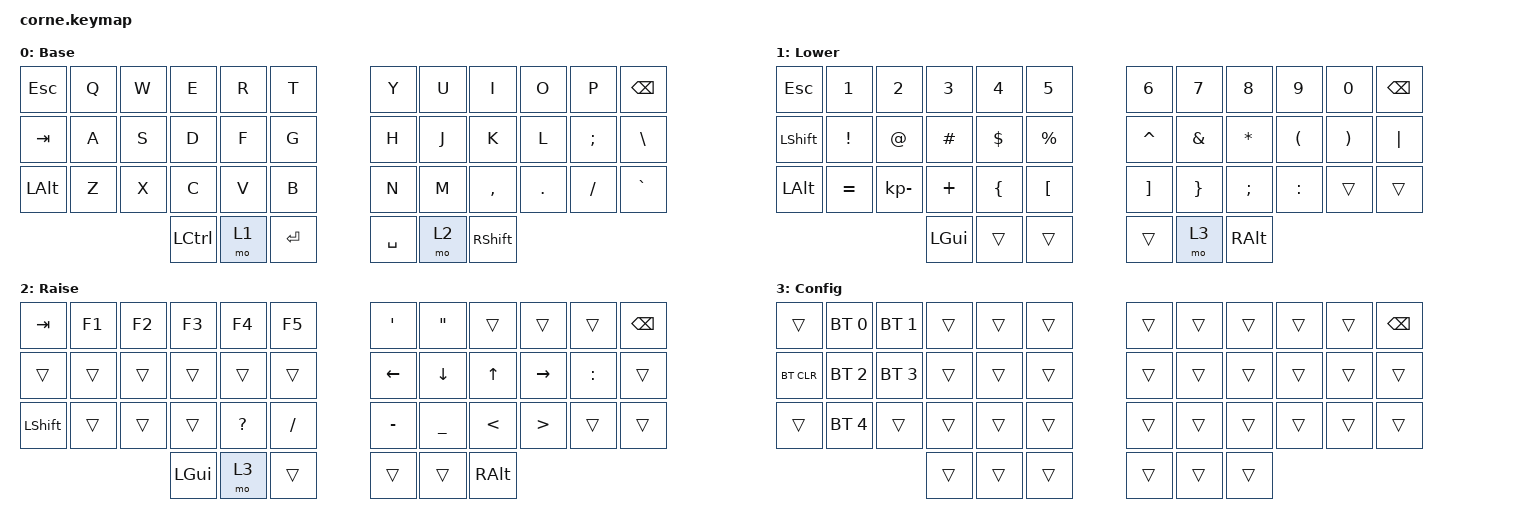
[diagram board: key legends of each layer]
/*
 * Copyright (c) 2020 The ZMK Contributors
 *
 * SPDX-License-Identifier: MIT
 */

#include <behaviors.dtsi>
#include <dt-bindings/zmk/bt.h>
#include <dt-bindings/zmk/keys.h>

/ {
    keymap {
        compatible = "zmk,keymap";

        default_layer {
            // -----------------------------------------------------------------------------------------
            // |  TAB |  Q  |  W  |  E  |  R  |  T  |   |  Y  |  U   |  I  |  O  |  P  | BKSP |
            // | CTRL |  A  |  S  |  D  |  F  |  G  |   |  H  |  J   |  K  |  L  |  ;  |  '   |
            // | SHFT |  Z  |  X  |  C  |  V  |  B  |   |  N  |  M   |  ,  |  .  |  /  | ESC  |
            //                    | GUI | LWR | SPC |   | ENT | RSE  | ALT |

            display-name = "Base";
            bindings = <
&kp ESCAPE    &kp Q  &kp W  &kp E      &kp R  &kp T        &kp Y      &kp U  &kp I       &kp O    &kp P     &kp BSPC
&kp TAB       &kp A  &kp S  &kp D      &kp F  &kp G        &kp H      &kp J  &kp K       &kp L    &kp SEMI  &kp BACKSLASH
&kp LEFT_ALT  &kp Z  &kp X  &kp C      &kp V  &kp B        &kp N      &kp M  &kp COMMA   &kp DOT  &kp FSLH  &kp GRAVE
                            &kp LCTRL  &mo 1  &kp ENTER    &kp SPACE  &mo 2  &kp RSHIFT
            >;
        };

        lower_layer {
            // -----------------------------------------------------------------------------------------
            // |  TAB |  1  |  2  |  3  |  4  |  5  |   |  6  |  7  |  8  |  9  |  0  | BKSP |
            // | BTCLR| BT1 | BT2 | BT3 | BT4 | BT5 |   | LFT | DWN |  UP | RGT |     |      |
            // | SHFT |     |     |     |     |     |   |     |     |     |     |     |      |
            //                    | GUI |     | SPC |   | ENT |     | ALT |

            display-name = "Lower";
            bindings = <
&kp ESCAPE      &kp N1           &kp N2        &kp N3    &kp N4          &kp N5              &kp N6             &kp N7           &kp N8    &kp N9                &kp N0                 &kp BSPC
&kp LEFT_SHIFT  &kp EXCLAMATION  &kp AT        &kp HASH  &kp DOLLAR      &kp PERCENT         &kp CARET          &kp AMPERSAND    &kp STAR  &kp LEFT_PARENTHESIS  &kp RIGHT_PARENTHESIS  &kp PIPE
&kp LEFT_ALT    &kp EQUAL        &kp KP_MINUS  &kp PLUS  &kp LEFT_BRACE  &kp LEFT_BRACKET    &kp RIGHT_BRACKET  &kp RIGHT_BRACE  &kp SEMI  &kp COLON             &trans                 &trans
                                               &kp LGUI  &trans          &trans              &trans             &mo 3            &kp RALT
            >;
        };

        raise_layer {
            // -----------------------------------------------------------------------------------------
            // |  TAB |  !  |  @  |  #  |  $  |  %  |   |  ^  |  &  |  *  |  (  |  )  | BKSP |
            // | CTRL |     |     |     |     |     |   |  -  |  =  |  [  |  ]  |  \  |  `   |
            // | SHFT |     |     |     |     |     |   |  _  |  +  |  {  |  }  | "|" |  ~   |
            //                    | GUI |     | SPC |   | ENT |     | ALT |

            display-name = "Raise";
            bindings = <
&kp TAB    &kp F1  &kp F2  &kp F3    &kp F4        &kp F5       &kp SINGLE_QUOTE  &kp DOUBLE_QUOTES  &trans         &trans            &trans     &kp BSPC
&trans     &trans  &trans  &trans    &trans        &trans       &kp LEFT          &kp DOWN           &kp UP_ARROW   &kp RIGHT         &kp COLON  &trans
&kp LSHFT  &trans  &trans  &trans    &kp QUESTION  &kp SLASH    &kp MINUS         &kp UNDERSCORE     &kp LESS_THAN  &kp GREATER_THAN  &trans     &trans
                           &kp LGUI  &mo 3         &trans       &trans            &trans             &kp RALT
            >;
        };

        config_layer {
            display-name = "Config";
            bindings = <
&trans      &bt BT_SEL 0  &bt BT_SEL 1  &trans  &trans  &trans    &trans  &trans  &trans  &trans  &trans  &kp BSPC
&bt BT_CLR  &bt BT_SEL 2  &bt BT_SEL 3  &trans  &trans  &trans    &trans  &trans  &trans  &trans  &trans  &trans
&trans      &bt BT_SEL 4  &trans        &trans  &trans  &trans    &trans  &trans  &trans  &trans  &trans  &trans
                                        &trans  &trans  &trans    &trans  &trans  &trans
            >;
        };
    };
};
